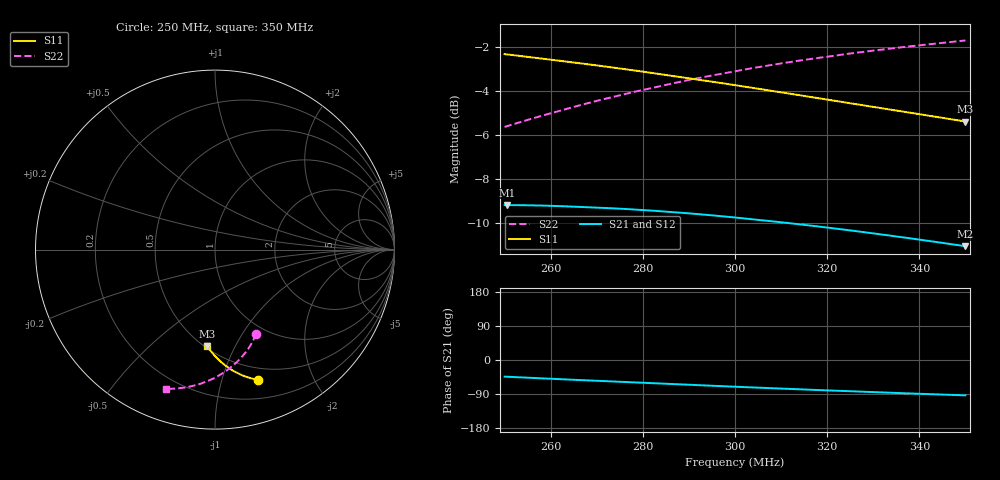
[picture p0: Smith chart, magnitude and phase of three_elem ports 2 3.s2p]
#  HZ  S  DB  R  50.00
! Rohde & Schwarz Vector Network Analyzer
! Rohde-Schwarz,ZNL3-2Port,1323001203101687,1.37.1.9-20.11.2.22
! Created: UTC 11/14/2023, 4:01:09 PM
! freq[Hz]  db:S11  ang:S11  db:S21  ang:S21  db:S12  ang:S12  db:S22  ang:S22
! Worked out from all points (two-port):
!   801 points, 250 MHz to 350 MHz, reference 50 ohm
!   highest |S21| = -9.19 dB at 250.5 MHz (marker M1); lowest = -11.1 dB at 350 MHz (marker M2)
!   |S21| within 3 dB of the highest: start of sweep to end of sweep
!   lowest |S11| = -5.4 dB at 350 MHz (marker M3), VSWR 3.33, Z = 25.8 - j38.9 ohm
!   |S11| at or under -10 dB: nowhere
!   |S22| runs from -5.6 to -1.7 dB; largest |S21 - S12| = 0.0048
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2.5e8  -2.31 -71.6  -9.19 -43.9  -9.21 -44.6  -5.63 -63.9
2.505e8  -2.32 -71.7  -9.19 -44.2  -9.21 -44.9  -5.60 -64.2
2.54625e8  -2.43 -72.9  -9.20 -46.5  -9.22 -47.2  -5.33 -66.2
2.585e8  -2.52 -74.0  -9.22 -48.6  -9.23 -49.4  -5.10 -68.1
2.63125e8  -2.64 -75.2  -9.25 -51.2  -9.26 -51.9  -4.82 -70.3
2.6675e8  -2.74 -76.2  -9.28 -53.2  -9.29 -53.9  -4.62 -72.1
2.7075e8  -2.84 -77.3  -9.32 -55.3  -9.33 -56.1  -4.40 -74.1
2.75375e8  -2.97 -78.5  -9.36 -57.8  -9.38 -58.5  -4.17 -76.4
2.83375e8  -3.21 -80.6  -9.47 -62.0  -9.48 -62.7  -3.78 -80.2
2.9175e8  -3.46 -82.6  -9.60 -66.4  -9.62 -67.1  -3.41 -84.2
2.9575e8  -3.59 -83.6  -9.68 -68.4  -9.69 -69.1  -3.25 -86.1
3e8  -3.72 -84.6  -9.76 -70.5  -9.77 -71.3  -3.09 -88.0
3.04375e8  -3.87 -85.6  -9.85 -72.7  -9.86 -73.4  -2.93 -90.0
3.085e8  -4.00 -86.5  -9.94 -74.7  -9.95 -75.5  -2.78 -91.9
3.12875e8  -4.15 -87.5  -10.04 -76.8  -10.06 -77.6  -2.64 -93.9
3.1675e8  -4.27 -88.3  -10.14 -78.7  -10.15 -79.4  -2.52 -95.6
3.24625e8  -4.54 -90.0  -10.34 -82.3  -10.35 -83.1  -2.29 -99.0
3.285e8  -4.67 -90.8  -10.44 -84.1  -10.45 -84.9  -2.19 -100.7
3.33375e8  -4.83 -91.7  -10.58 -86.3  -10.59 -87.1  -2.06 -102.8
3.415e8  -5.10 -93.2  -10.81 -89.8  -10.82 -90.7  -1.87 -106.1
3.495e8  -5.37 -94.6  -11.05 -93.1  -11.06 -94.1  -1.70 -109.3
3.5e8  -5.38 -94.7  -11.07 -93.3  -11.08 -94.3  -1.69 -109.5
